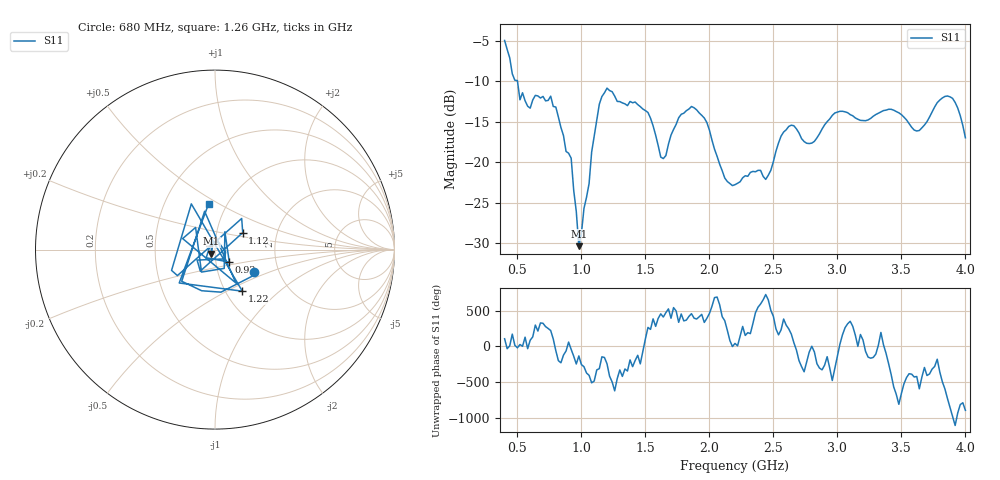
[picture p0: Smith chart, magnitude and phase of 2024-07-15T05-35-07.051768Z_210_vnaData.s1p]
!Created with skrf (http://scikit-rf.org).
# Hz S RI R 50.0
!freq ReS11 ImS11
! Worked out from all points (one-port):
!   181 points, 400 MHz to 4 GHz, reference 50 ohm
!   lowest |S11| = -30.4 dB at 980 MHz (marker M1), VSWR 1.06, Z = 47.9 - j2.13 ohm
!   |S11| at or under -10 dB: 500.8 MHz to end of sweep
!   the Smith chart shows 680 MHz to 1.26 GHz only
!   S11 on the Smith chart (normalised r, x): 680 MHz: 1.48, -0.40; 920 MHz: 1.16, -0.16; 1.12 GHz: 1.34, +0.26; 1.22 GHz: 1.20, -0.60; 1.26 GHz: 0.82, +0.45
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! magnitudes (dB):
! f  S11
! 400 MHz  -5.0
! 520 MHz  -12.3
! 680 MHz  -12.1
! 760 MHz  -11.8
! 860 MHz  -16.7
! 920 MHz  -19.5
! 980 MHz  -30.4
! 1.12 GHz  -14.8
! 1.16 GHz  -11.9
! 1.22 GHz  -11.1
! 1.26 GHz  -11.8
! 1.3 GHz  -12.5
! 1.52 GHz  -13.9
! 1.64 GHz  -19.5
! 1.76 GHz  -14.5
! 1.96 GHz  -14.5
! 2.12 GHz  -21.9
! 2.2 GHz  -22.8
! 2.44 GHz  -22.1
! 2.56 GHz  -16.8
! 2.66 GHz  -15.5
! 2.8 GHz  -17.6
! 2.98 GHz  -13.9
! 3.1 GHz  -14.1
! 3.56 GHz  -15.2
! 3.64 GHz  -16.1
! 3.86 GHz  -11.8
! 4 GHz  -17.0
